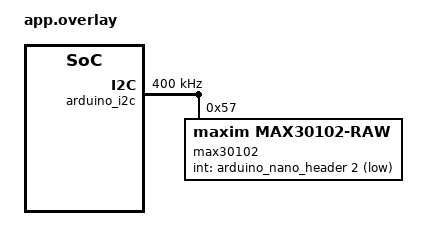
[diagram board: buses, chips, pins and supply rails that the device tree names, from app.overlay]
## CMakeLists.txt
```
# F3: MAX30102 driver + raw sample streaming over USB.
cmake_minimum_required(VERSION 3.20.0)

# Always send console output over USB (same as passing -S cdc-acm-console)
set(SNIPPET cdc-acm-console CACHE STRING "")

find_package(Zephyr REQUIRED HINTS $ENV{ZEPHYR_BASE})
project(max30102_stream LANGUAGES C)

target_sources(app PRIVATE
	src/main.c
	src/max30102.c
)
```

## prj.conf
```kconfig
# --- Buses and pins the driver needs ---
CONFIG_I2C=y
CONFIG_GPIO=y

# --- Room for the sensor thread and the sample queue ---
CONFIG_MAIN_STACK_SIZE=2048

# --- main() prints the samples; give it lower priority than the sensor thread ---
CONFIG_MAIN_THREAD_PRIORITY=7
```

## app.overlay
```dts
/*
 * Devicetree overlay: tells Zephyr where the MAX30102 is connected.
 * The driver reads these values at build time, so no pin numbers are
 * hard-coded in C.
 *
 * Wiring (Arduino Nano 33 BLE Sense):
 *   MAX30102 VIN -> 3.3V     MAX30102 GND -> GND
 *   MAX30102 SDA -> A4       MAX30102 SCL -> A5   (I2C0)
 *   MAX30102 INT -> D2
 */
#include <zephyr/dt-bindings/gpio/gpio.h>
#include <zephyr/dt-bindings/i2c/i2c.h>

&arduino_i2c {
	clock-frequency = <I2C_BITRATE_FAST>;   /* 400 kHz */

	max30102: max30102@57 {
		compatible = "maxim,max30102-raw";   /* our own driver, not Zephyr's */
		reg = <0x57>;                        /* fixed I2C address of the chip */
		/* INT is open-drain and pulls low when samples are ready */
		int-gpios = <&arduino_nano_header 2 (GPIO_ACTIVE_LOW | GPIO_PULL_UP)>;
	};
};
```

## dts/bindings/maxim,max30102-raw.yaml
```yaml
# Devicetree binding: describes which properties a "maxim,max30102" node
# may have. Zephyr checks the overlay against this at build time.

description: MAX30102 pulse oximeter, raw FIFO access (application driver, not the upstream Zephyr sensor driver)

compatible: "maxim,max30102-raw"

include: i2c-device.yaml

properties:
  int-gpios:
    type: phandle-array
    required: true
    description: Interrupt pin (open-drain, active low)
```

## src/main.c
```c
/*
 * F3: stream raw MAX30102 samples over USB.
 *
 * Two threads, the standard pattern for sensor firmware:
 *   - sensor thread: woken by the MAX30102 interrupt, reads the FIFO over I2C
 *     and puts samples into a queue. It never waits on the USB link.
 *   - main thread: takes samples from the queue and prints them as CSV.
 *
 * Output (one line per sample, 100 lines per second):
 *   seq,ir,red
 * Lines starting with '#' are status messages, not data.
 */

#include <zephyr/kernel.h>
#include <zephyr/device.h>
#include <zephyr/drivers/gpio.h>
#include <zephyr/drivers/i2c.h>
#include <zephyr/sys/printk.h>

#include "max30102.h"

#define LED_CURRENT 0x24   /* about 7 mA; raise if the signal is weak */

#define MAX_NODE DT_NODELABEL(max30102)
static const struct i2c_dt_spec sensor_i2c = I2C_DT_SPEC_GET(MAX_NODE);
static const struct gpio_dt_spec sensor_int = GPIO_DT_SPEC_GET(MAX_NODE, int_gpios);

struct stamped_sample {
	uint32_t seq;
	uint32_t ir;
	uint32_t red;
};

K_MSGQ_DEFINE(sample_queue, sizeof(struct stamped_sample), 256, 4);
K_SEM_DEFINE(data_ready, 0, 1);

static struct gpio_callback int_cb;
static volatile uint32_t fifo_overflows;
static volatile uint32_t queue_drops;
static volatile uint32_t irq_wakeups;      /* thread woken by the INT pin */
static volatile uint32_t timeout_wakeups;  /* thread woken by the safety-net timer */
static volatile uint32_t i2c_errors;
static volatile uint32_t max_batch;        /* most samples waiting in one read (FIFO holds 32) */
static volatile int sensor_status = -EAGAIN;   /* 0 once the sensor is running */

static void sensor_isr(const struct device *dev, struct gpio_callback *cb, uint32_t pins)
{
	k_sem_give(&data_ready);   /* keep the ISR short: just wake the thread */
}

static void sensor_thread(void *a, void *b, void *c)
{
	struct max30102_sample batch[MAX30102_FIFO_DEPTH];
	uint32_t seq = 0;

	/* Keep retrying so a loose wire can be fixed without reflashing */
	while ((sensor_status = max30102_init(&sensor_i2c, LED_CURRENT)) != 0) {
		k_msleep(1000);
	}

	gpio_pin_configure_dt(&sensor_int, GPIO_INPUT);
	gpio_init_callback(&int_cb, sensor_isr, BIT(sensor_int.pin));
	gpio_add_callback_dt(&sensor_int, &int_cb);
	gpio_pin_interrupt_configure_dt(&sensor_int, GPIO_INT_EDGE_TO_ACTIVE);

	while (true) {
		/* Wait for the interrupt. The timeout is a safety net in case an
		 * edge is missed: 100 ms is 10 samples, far below the 32-sample
		 * FIFO, so no data is lost even if the interrupt never arrives. */
		if (k_sem_take(&data_ready, K_MSEC(100)) == 0) {
			irq_wakeups++;
		} else {
			timeout_wakeups++;
		}

		if (max30102_clear_interrupts(&sensor_i2c) != 0) {
			i2c_errors++;
		}

		int overflow = 0;
		int n = max30102_read_fifo(&sensor_i2c, batch, ARRAY_SIZE(batch), &overflow);

		if (n < 0) {
			i2c_errors++;
			continue;
		}
		fifo_overflows += overflow;
		if ((uint32_t)n > max_batch) {
			max_batch = n;
		}

		for (int i = 0; i < n; i++) {
			struct stamped_sample s = { seq++, batch[i].ir, batch[i].red };

			if (k_msgq_put(&sample_queue, &s, K_NO_WAIT) != 0) {
				queue_drops++;
			}
		}
	}
}

/* Priority 2 is higher than main (7, set in prj.conf): collecting samples
 * must always preempt printing them. Lower number = higher priority. */
K_THREAD_DEFINE(sensor_tid, 2048, sensor_thread, NULL, NULL, NULL, 2, 0, 0);

int main(void)
{
	if (!i2c_is_ready_dt(&sensor_i2c) || !gpio_is_ready_dt(&sensor_int)) {
		printk("# I2C or GPIO controller not ready\n");
		return -1;
	}

	/* Until the sensor answers, repeat the error so it is visible
	 * whenever the serial terminal is opened. */
	while (sensor_status != 0) {
		k_msleep(1000);
		if (sensor_status != 0) {
			printk("# MAX30102 not found (error %d): check wiring and power\n",
			       sensor_status);
		}
	}

	printk("# MAX30102 streaming at 100 Hz: seq,ir,red\n");

	struct stamped_sample s;

	while (true) {
		k_msgq_get(&sample_queue, &s, K_FOREVER);
		printk("%u,%u,%u\n", s.seq, s.ir, s.red);

		if (s.seq % 1000 == 999) {
			printk("# status: fifo_overflows=%u queue_drops=%u i2c_errors=%u "
			       "irq_wakeups=%u timeout_wakeups=%u max_batch=%u\n",
			       fifo_overflows, queue_drops, i2c_errors,
			       irq_wakeups, timeout_wakeups, max_batch);
		}
	}
	return 0;
}
```
